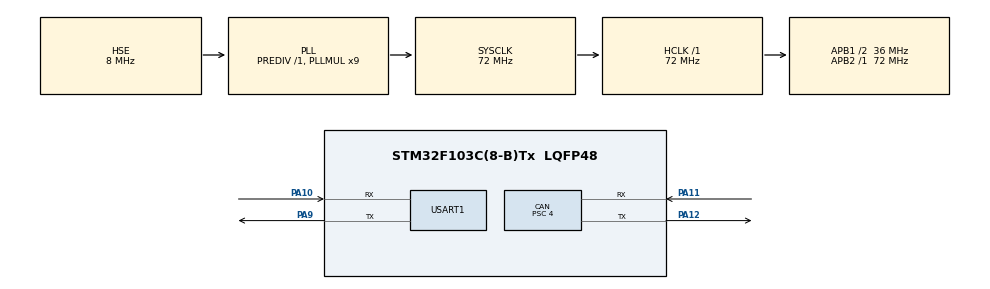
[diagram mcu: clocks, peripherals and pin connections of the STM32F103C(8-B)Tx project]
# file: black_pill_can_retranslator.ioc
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CAN.BS1=CAN_BS1_15TQ
CAN.BS2=CAN_BS2_2TQ
CAN.CalculateBaudRate=500000
CAN.CalculateTimeBit=1999.99
CAN.CalculateTimeQuantum=111.11111111111111
CAN.Prescaler=4
Mcu.Family=STM32F1
Mcu.Name=STM32F103C(8-B)Tx
Mcu.Package=LQFP48
NVIC.PriorityGroup=NVIC_PRIORITYGROUP_4
NVIC.USB_LP_CAN1_RX0_IRQn=true\:0\:0\:false\:false\:true\:true\:true
PA10.Mode=Asynchronous
PA10.Signal=USART1_RX
PA11.Mode=CAN_Activate
PA11.Signal=CAN_RX
PA12.Mode=CAN_Activate
PA12.Signal=CAN_TX
PA13.Mode=Serial_Wire
PA13.Signal=SYS_JTMS-SWDIO
PA14.Mode=Serial_Wire
PA14.Signal=SYS_JTCK-SWCLK
PA9.Mode=Asynchronous
PA9.Signal=USART1_TX
PD0-OSC_IN.Mode=HSE-External-Oscillator
PD0-OSC_IN.Signal=RCC_OSC_IN
PD1-OSC_OUT.Mode=HSE-External-Oscillator
PD1-OSC_OUT.Signal=RCC_OSC_OUT
ProjectManager.HeapSize=0x200
ProjectManager.StackSize=0x400
ProjectManager.TargetToolchain=STM32CubeIDE
RCC.AHBFreq_Value=72000000
RCC.APB1CLKDivider=RCC_HCLK_DIV2
RCC.APB1Freq_Value=36000000
RCC.APB1TimFreq_Value=72000000
RCC.APB2Freq_Value=72000000
RCC.APB2TimFreq_Value=72000000
RCC.HCLKFreq_Value=72000000
RCC.PLLMUL=RCC_PLL_MUL9
RCC.PLLSourceVirtual=RCC_PLLSOURCE_HSE
RCC.SYSCLKFreq_VALUE=72000000
RCC.SYSCLKSource=RCC_SYSCLKSOURCE_PLLCLK
RCC.USBFreq_Value=72000000
USART1.VirtualMode=VM_ASYNC
board=custom

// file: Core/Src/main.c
/* USER CODE BEGIN Header */
/**
  ******************************************************************************
  * @file           : main.c
  * @brief          : Main program body
  ******************************************************************************
  * @attention
  *
  * <h2><center>&copy; Copyright (c) 2021 STMicroelectronics.
  * All rights reserved.</center></h2>
  *
  * This software component is licensed by ST under BSD 3-Clause license,
  * the "License"; You may not use this file except in compliance with the
  * License. You may obtain a copy of the License at:
  *                        opensource.org/licenses/BSD-3-Clause
  *
  ******************************************************************************
  */
/* USER CODE END Header */
#include "main.h"

/* USER CODE BEGIN Includes */
#include <stdio.h>
#include <string.h>
/* USER CODE END Includes */

CAN_HandleTypeDef hcan;

UART_HandleTypeDef huart1;

/* USER CODE BEGIN PV */
uint8_t RxData[8] = {0,};
uint16_t value = 0;
CAN_RxHeaderTypeDef RxHeader;
volatile uint8_t uart_flag = 0;
char to_pc[10] = {0,};
/* USER CODE END PV */

void SystemClock_Config(void);
static void MX_GPIO_Init(void);
static void MX_CAN_Init(void);
static void MX_USART1_UART_Init(void);

/* USER CODE BEGIN 0 */
void HAL_CAN_RxFifo0MsgPendingCallback(CAN_HandleTypeDef *hcan) {
	if (HAL_CAN_GetRxMessage(hcan, CAN_RX_FIFO0, &RxHeader, RxData) != HAL_OK) {
		Error_Handler();
	} else {
		value = RxData[0] | (RxData[1] << 8);
		uart_flag = 1;
	}
}
/* USER CODE END 0 */

int main(void)
{

  /* MCU Configuration--------------------------------------------------------*/

  /* Reset of all peripherals, Initializes the Flash interface and the Systick. */
  HAL_Init();

  /* Configure the system clock */
  SystemClock_Config();

  /* Initialize all configured peripherals */
  MX_GPIO_Init();
  MX_CAN_Init();
  MX_USART1_UART_Init();
  /* USER CODE BEGIN 2 */
  CAN_FilterTypeDef sFilterConfig;
  sFilterConfig.FilterBank = 0;
  sFilterConfig.FilterMode = CAN_FILTERMODE_IDMASK; // CAN_FILTERMODE_IDLIST
  sFilterConfig.FilterScale = CAN_FILTERSCALE_16BIT;
  sFilterConfig.FilterIdHigh = 0; // can_id << 5;
  sFilterConfig.FilterIdLow = 0;
  sFilterConfig.FilterMaskIdHigh = 0;
  sFilterConfig.FilterMaskIdLow = 0;
  sFilterConfig.FilterFIFOAssignment = CAN_FILTER_FIFO0;
  sFilterConfig.FilterActivation = ENABLE;
  sFilterConfig.SlaveStartFilterBank = 14; // 0 - 27
  if (HAL_CAN_ConfigFilter(&hcan, &sFilterConfig) != HAL_OK) {
      Error_Handler();
  }
  HAL_CAN_Start(&hcan);
  HAL_CAN_ActivateNotification(&hcan, CAN_IT_RX_FIFO0_MSG_PENDING);
  /* USER CODE END 2 */

  /* Infinite loop */
  /* USER CODE BEGIN WHILE */
  while (1) {
	  if (uart_flag) {
		  uart_flag = 0;
		  sprintf(to_pc, "%d\n", value);
		  HAL_UART_Transmit(&huart1, (uint8_t *) to_pc, strlen(to_pc), 100);
	  }
    /* USER CODE END WHILE */

  }
}

void SystemClock_Config(void)
{
  RCC_OscInitTypeDef RCC_OscInitStruct = {0};
  RCC_ClkInitTypeDef RCC_ClkInitStruct = {0};

  /** Initializes the RCC Oscillators according to the specified parameters
  * in the RCC_OscInitTypeDef structure.
  */
  RCC_OscInitStruct.OscillatorType = RCC_OSCILLATORTYPE_HSE;
  RCC_OscInitStruct.HSEState = RCC_HSE_ON;
  RCC_OscInitStruct.HSEPredivValue = RCC_HSE_PREDIV_DIV1;
  RCC_OscInitStruct.HSIState = RCC_HSI_ON;
  RCC_OscInitStruct.PLL.PLLState = RCC_PLL_ON;
  RCC_OscInitStruct.PLL.PLLSource = RCC_PLLSOURCE_HSE;
  RCC_OscInitStruct.PLL.PLLMUL = RCC_PLL_MUL9;
  if (HAL_RCC_OscConfig(&RCC_OscInitStruct) != HAL_OK)
  {
    Error_Handler();
  }
  /** Initializes the CPU, AHB and APB buses clocks
  */
  RCC_ClkInitStruct.ClockType = RCC_CLOCKTYPE_HCLK|RCC_CLOCKTYPE_SYSCLK
                              |RCC_CLOCKTYPE_PCLK1|RCC_CLOCKTYPE_PCLK2;
  RCC_ClkInitStruct.SYSCLKSource = RCC_SYSCLKSOURCE_PLLCLK;
  RCC_ClkInitStruct.AHBCLKDivider = RCC_SYSCLK_DIV1;
  RCC_ClkInitStruct.APB1CLKDivider = RCC_HCLK_DIV2;
  RCC_ClkInitStruct.APB2CLKDivider = RCC_HCLK_DIV1;

  if (HAL_RCC_ClockConfig(&RCC_ClkInitStruct, FLASH_LATENCY_2) != HAL_OK)
  {
    Error_Handler();
  }
}

static void MX_CAN_Init(void)
{

  hcan.Instance = CAN1;
  hcan.Init.Prescaler = 4;
  hcan.Init.Mode = CAN_MODE_NORMAL;
  hcan.Init.SyncJumpWidth = CAN_SJW_1TQ;
  hcan.Init.TimeSeg1 = CAN_BS1_15TQ;
  hcan.Init.TimeSeg2 = CAN_BS2_2TQ;
  hcan.Init.TimeTriggeredMode = DISABLE;
  hcan.Init.AutoBusOff = DISABLE;
  hcan.Init.AutoWakeUp = DISABLE;
  hcan.Init.AutoRetransmission = DISABLE;
  hcan.Init.ReceiveFifoLocked = DISABLE;
  hcan.Init.TransmitFifoPriority = DISABLE;
  if (HAL_CAN_Init(&hcan) != HAL_OK)
  {
    Error_Handler();
  }

}

static void MX_USART1_UART_Init(void)
{

  huart1.Instance = USART1;
  huart1.Init.BaudRate = 115200;
  huart1.Init.WordLength = UART_WORDLENGTH_8B;
  huart1.Init.StopBits = UART_STOPBITS_1;
  huart1.Init.Parity = UART_PARITY_NONE;
  huart1.Init.Mode = UART_MODE_TX_RX;
  huart1.Init.HwFlowCtl = UART_HWCONTROL_NONE;
  huart1.Init.OverSampling = UART_OVERSAMPLING_16;
  if (HAL_UART_Init(&huart1) != HAL_OK)
  {
    Error_Handler();
  }

}

static void MX_GPIO_Init(void)
{

  /* GPIO Ports Clock Enable */
  __HAL_RCC_GPIOD_CLK_ENABLE();
  __HAL_RCC_GPIOA_CLK_ENABLE();

}

void Error_Handler(void)
{
  __disable_irq();
  while (1)
  {
  }
}

/************************ (C) COPYRIGHT STMicroelectronics *****END OF FILE****/
